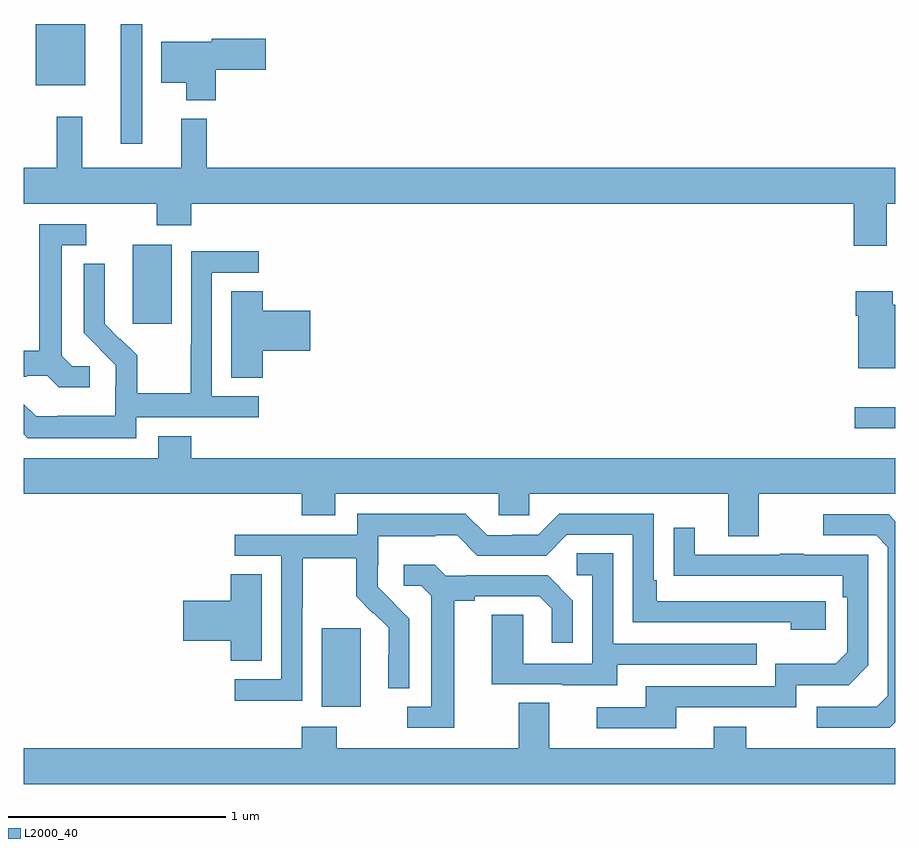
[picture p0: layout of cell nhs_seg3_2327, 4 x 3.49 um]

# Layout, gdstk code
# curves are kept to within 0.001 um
import gdstk
lib = gdstk.Library(unit=1e-6, precision=1e-09)
def R(c, l, rs):  # rectangles x0, y0, x1, y1
    for r in rs: c.add(gdstk.rectangle(r[:2], r[2:], *l))
def P(c, l, *ps):  # polygons
    for p in ps: c.add(gdstk.Polygon(p, *l))
L2000_40 = (2000, 40)

nhs_seg3_2327 = lib.new_cell('nhs_seg3_2327')
R(nhs_seg3_2327, L2000_40, [(232.367,705.266,232.546,705.627), (234.813,706.544,235,706.641), (231.5,707.025,231.679,707.386), (231.056,708.119,231.283,708.4)])
P(nhs_seg3_2327, L2000_40, [(231.543,708.4),(231.395,708.4),(231.395,708.398),(231.446,708.398),(231.446,707.85),(231.543,707.85)],
  [(231.881,708.19),(232.111,708.19),(232.111,708.332),(231.864,708.332),(231.864,708.319),(231.632,708.319),(231.632,708.131),(231.746,708.131),(231.746,708.05),(231.881,708.05)],
  [(234.961,707.576),(235,707.576),(235,707.74),(231.839,707.74),(231.839,707.965),(231.722,707.965),(231.722,707.74),(231.269,707.74),(231.269,707.974),(231.151,707.974),(231.151,707.74),(231,707.74),(231,707.576),(231.61,707.576),(231.61,707.477),(231.77,707.477),(231.77,707.576),(234.809,707.576),(234.809,707.382),(234.961,707.382)],
  [(231.304,706.83),(231.222,706.83),(231.175,706.877),(231.175,707.385),(231.286,707.385),(231.286,707.481),(231.071,707.481),(231.071,706.901),(231,706.901),(231,706.782),(231.014,706.782),(231.014,706.785),(231.108,706.785),(231.16,706.733),(231.304,706.733)],
  [(231.516,706.596),(232.078,706.596),(232.078,706.692),(231.864,706.692),(231.864,707.259),(232.078,707.259),(232.078,707.358),(231.768,707.358),(231.768,706.928),(231.766,706.928),(231.766,706.705),(231.521,706.705),(231.521,706.879),(231.444,706.956),(231.441,706.953),(231.371,707.024),(231.372,707.3),(231.276,707.3),(231.276,706.982),(231.422,706.834),(231.422,706.737),(231.42,706.737),(231.42,706.603),(231.157,706.603),(231.157,706.599),(231.057,706.599),(231,706.656),(231,706.518),(231.019,706.499),(231.516,706.499)],
  [(232.097,706.901),(232.315,706.901),(232.315,707.084),(232.097,707.084),(232.097,707.174),(231.953,707.174),(231.953,706.777),(232.097,706.777)],
  [(235,707.112),(234.988,707.112),(234.988,707.173),(234.818,707.173),(234.818,707.06),(234.83,707.06),(234.83,706.82),(235,706.82)],
  [(231.77,706.507),(231.617,706.507),(231.617,706.408),(231,706.408),(231,706.244),(232.277,706.244),(232.277,706.145),(232.429,706.145),(232.429,706.244),(233.181,706.244),(233.181,706.146),(233.319,706.146),(233.319,706.244),(234.233,706.244),(234.233,706.05),(234.373,706.05),(234.373,706.244),(235,706.244),(235,706.408),(231.77,706.408)],
  [(232.278,705.724),(232.281,705.724),(232.281,705.948),(232.525,705.948),(232.525,705.773),(232.602,705.696),(232.605,705.699),(232.676,705.629),(232.676,705.506),(232.674,705.506),(232.674,705.352),(232.77,705.352),(232.77,705.67),(232.624,705.818),(232.624,705.915),(232.626,705.915),(232.626,706.049),(232.889,706.049),(232.889,706.053),(232.989,706.053),(233.082,705.96),(233.397,705.96),(233.493,706.056),(233.796,706.056),(233.796,705.654),(234.521,705.654),(234.521,705.62),(234.682,705.62),(234.682,705.75),(233.905,705.75),(233.905,705.847),(233.892,705.847),(233.892,706.152),(233.457,706.152),(233.361,706.056),(233.243,706.056),(233.243,706.053),(233.127,706.053),(233.027,706.153),(232.53,706.153),(232.53,706.056),(231.969,706.056),(231.969,705.96),(232.182,705.96),(232.182,705.393),(231.969,705.393),(231.969,705.295),(232.278,705.295)],
  [(235,705.196),(235,706.118),(234.969,706.149),(234.669,706.149),(234.669,706.053),(234.912,706.053),(234.966,705.999),(234.966,705.318),(234.915,705.267),(234.639,705.267),(234.639,705.171),(234.975,705.171)],
  [(233.995,705.264),(234.546,705.264),(234.546,705.366),(234.786,705.366),(234.876,705.456),(234.876,705.963),(234.581,705.963),(234.581,705.968),(234.469,705.968),(234.469,705.963),(234.079,705.963),(234.079,706.087),(233.983,706.087),(233.983,705.868),(234.76,705.867),(234.76,705.77),(234.78,705.77),(234.78,705.516),(234.727,705.463),(234.45,705.463),(234.45,705.36),(233.855,705.36),(233.855,705.264),(233.631,705.264),(233.631,705.168),(233.995,705.168)],
  [(233.725,705.459),(234.365,705.459),(234.365,705.555),(233.706,705.555),(233.706,705.971),(233.538,705.971),(233.538,705.87),(233.61,705.87),(233.61,705.465),(233.292,705.465),(233.292,705.689),(233.147,705.689),(233.147,705.369),(233.471,705.369),(233.471,705.365),(233.725,705.365)],
  [(232.975,705.752),(233.071,705.752),(233.071,705.774),(233.366,705.774),(233.423,705.717),(233.423,705.561),(233.52,705.561),(233.52,705.754),(233.404,705.87),(233.032,705.87),(233.032,705.867),(232.938,705.867),(232.886,705.919),(232.743,705.919),(232.743,705.822),(232.824,705.822),(232.871,705.775),(232.871,705.267),(232.761,705.267),(232.761,705.171),(232.975,705.171)],
  [(232.093,705.875),(231.95,705.875),(231.95,705.752),(231.732,705.752),(231.732,705.569),(231.95,705.569),(231.95,705.478),(232.093,705.478)],
  [(235,705.076),(234.315,705.076),(234.315,705.175),(234.167,705.175),(234.167,705.076),(233.413,705.076),(233.413,705.284),(233.273,705.284),(233.273,705.076),(232.437,705.076),(232.437,705.175),(232.277,705.175),(232.277,705.076),(231,705.076),(231,704.912),(235,704.912)])

lib.write_gds('nhs_seg3_2327.gds')
